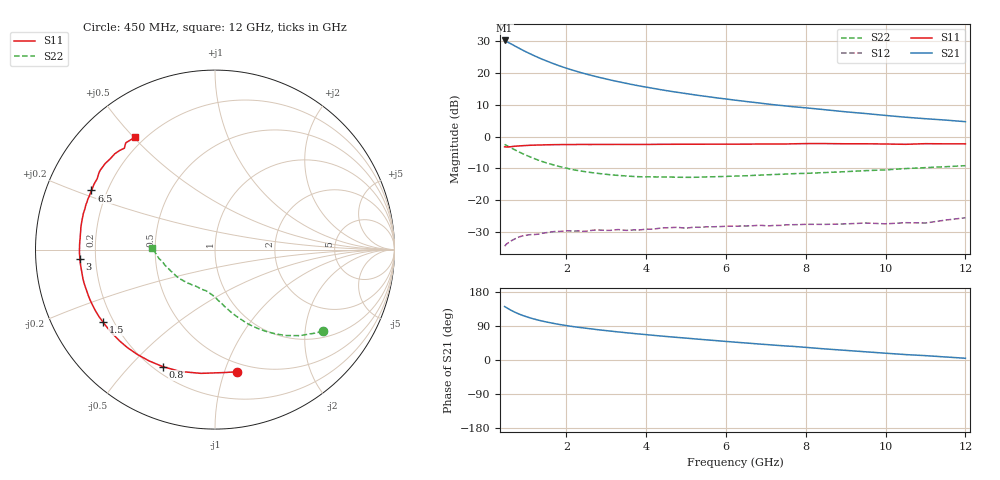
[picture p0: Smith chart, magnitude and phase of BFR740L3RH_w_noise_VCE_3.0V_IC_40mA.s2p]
! (c) 2012  Infineon Technologies AG, Munich
! Infineon Technologies  Discrete & RF Semiconductors
! BFR740L3RH
! VCE =  3.0 V,  IC =  40 mA
! Common Emitter S-Parameters:  May 2012
# GHz  S  MA  R  50
!  f  S11  S21  S12  S22
! GHz  MAG  ANG  MAG  ANG  MAG  ANG  MAG  ANG
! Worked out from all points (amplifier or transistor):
!   85 points, 450 MHz to 12 GHz, reference 50 ohm
!   highest |S21| = 30.2 dB at 450 MHz (marker M1)
!   |S21| within 3 dB of that: start of sweep to 897.1 MHz
!   unconditionally stable (mu >= 1): 4.694 GHz to end of sweep
!   at 1.8 GHz: K = 0.41, MSG = 26.0 dB, |S12| = -29.8 dB
!   at 4.6 GHz: K = 0.99, MSG = 21.4 dB, |S12| = -28.6 dB
!   at 12 GHz: K = 2.06, MAG = 9.2 dB, |S12| = -25.5 dB
!   lowest NFmin = 1.40 dB at 450 MHz
!   S11 on the Smith chart (normalised r, x): 450 MHz: 0.42, -1.11; 800 MHz: 0.23, -0.63; 1.5 GHz: 0.16, -0.29; 3 GHz: 0.14, -0.04; 6.5 GHz: 0.14, +0.22; 12 GHz: 0.16, +0.50
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0.45  0.6917 -79.6  32.3 141.1  0.0191 45.6  0.7547 -37.1
0.5  0.6871 -85.4  31.06 137.9  0.0207 46.7  0.7255 -39.9
0.6  0.694 -96.5  28.78 131.8  0.0229 46.5  0.6721 -45.5
0.7  0.7061 -105.9  26.62 126.5  0.0247 42.8  0.6235 -50.2
0.8  0.7139 -113.9  24.61 121.8  0.0265 39.1  0.5795 -54.2
0.9  0.7208 -120.7  22.82 117.7  0.0277 37.4  0.5408 -57.7
1  0.727 -126.6  21.22 114.1  0.0284 36.0  0.5074 -60.8
1.1  0.7322 -131.7  19.8 110.8  0.029 33.7  0.478 -63.6
1.3  0.7385 -140.4  17.36 105.1  0.0295 30.5  0.4266 -68.4
1.5  0.7436 -147.2  15.4 100.3  0.0311 28.3  0.3875 -72.5
1.7  0.7483 -153.0  13.77 96.1  0.0324 26.0  0.3567 -76.0
1.9  0.7503 -157.9  12.44 92.5  0.0328 25.2  0.3306 -79.1
2.4  0.7535 -167.4  9.956 85.0  0.0327 23.6  0.2862 -85.9
3  0.7547 -175.9  8.015 77.5  0.0338 22.9  0.2562 -92.5
3.6  0.7548 177.3  6.657 70.9  0.0341 23.1  0.2387 -99.9
4.3  0.7571 171.0  5.542 63.9  0.0363 26.1  0.233 -107.3
5.3  0.7597 162.7  4.446 55.0  0.0378 26.5  0.2308 -118.9
6.3  0.7617 155.8  3.689 46.5  0.0394 27.2  0.2411 -130.3
6.5  0.7634 154.4  3.564 44.9  0.0396 27.7  0.2432 -132.6
8.5  0.7774 141.9  2.637 29.1  0.042 29.6  0.2734 -154.0
10.5  0.7576 131.8  2.017 14.3  0.0446 35.1  0.3154 -170.7
12  0.7701 125.6  1.716 4.6  0.0533 42.2  0.3502 178.7
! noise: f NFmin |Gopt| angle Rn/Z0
0.45  1.4  0.19  180  0.12
0.9  1.41  0.2  179  0.12
1.5  1.46  0.25  179  0.1
1.9  1.49  0.27  -179  0.11
2.4  1.55  0.29  -176  0.11
3.5  1.7  0.31  -173  0.11
5.5  2.05  0.35  -163  0.12
8  2.5  0.38  -152  0.19
10  2.86  0.45  -133  0.3
12  3.2  0.49  -121  0.51
